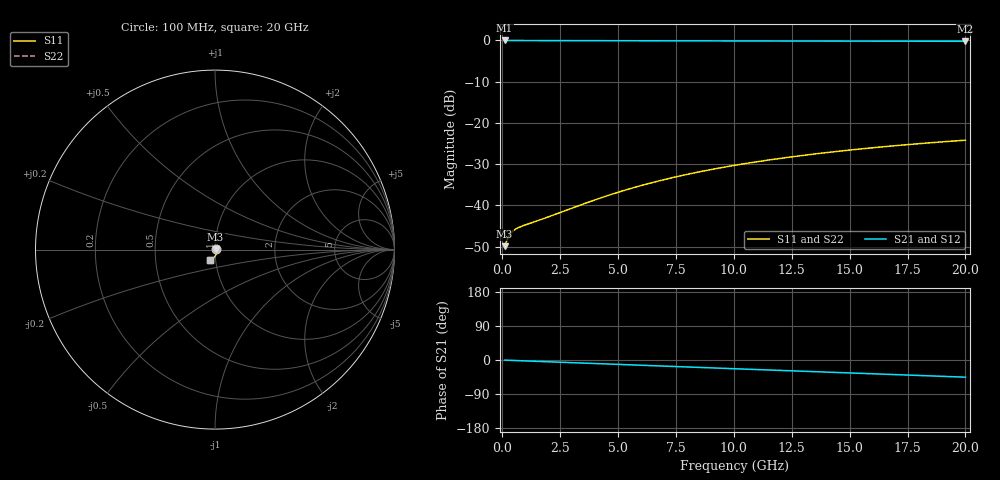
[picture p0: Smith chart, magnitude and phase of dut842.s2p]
! Touchstone file exported from HFSS 2026.1.0
!  File:  C:/ffzhzh/LocalFiles/Ansys_Project_Files/temp_train_TMRDL_842_1783156817_43440.aedt
!  Generated:  05:21:28 PM Jul  4, 2026
!  Design:  TMRDL
!  Project:  temp_train_TMRDL_842_1783156817_43440
! Variables:
!  h_bsmrdl = 2um
!  h_ox = 20um
!  h_rdl = 5um
!  h_sub = 80um
!  h_tmrdl = 3.85um
!  h_tsv = 80um
!  h_via = 3um
!  l_bsmrdl = 300um
!  l_sub = 1207.12um
!  l_tmrdl = 807.12um
!  m_sub = 200um
!  pitch = 30.73um
!  r_tsv = 6um
!  s_tmrdl = 10um
!  w_bsmrdl = 18um
!  w_sub = 500um
!  w_tmrdl = 26.92um
!  x_tsv_center1 = 820.58um
!  x_tsv_center2 = 1138.58um
!  x_tsv_center3 = 1972.62um
!  x_tsv_center4 = 2290.62um
!  x_tsv_center5 = 3124.66um
!  x_tsv_center6 = 3442.66um
# GHz S MA R 50.000000
! Terminal data exported
! Port[1] = TM_RDL1_1_T1
! Port[2] = TM_RDL1_1_T2
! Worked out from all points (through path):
!   200 points, 100 MHz to 20 GHz, reference 50 ohm
!   highest |S21| = -0.03 dB at 100 MHz (marker M1); lowest = -0.2 dB at 20 GHz (marker M2)
!   group delay of S21, straight-line fit = 6.27 ps
!   lowest |S11| = -49.9 dB at 100 MHz (marker M3), VSWR 1.01, Z = 50.3 + j0.0613 ohm
!   |S11| at or under -10 dB: start of sweep to end of sweep
!   |S22| runs from -49.9 to -24.2 dB; largest |S21 - S12| = 3.7e-15
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0.1  0.003196 11.0  0.9969 -0.3  0.9969 -0.3  0.003196 11.0
! Gamma 0 0 0 0
! Port Impedance 50 0 50 0
0.2  0.003775 14.0  0.9963 -0.5  0.9963 -0.5  0.003775 14.0
0.3  0.0043 12.1  0.9958 -0.8  0.9958 -0.8  0.0043 12.1
0.4  0.004692 8.7  0.9954 -1.0  0.9954 -1.0  0.004692 8.7
0.5  0.004979 5.0  0.995 -1.3  0.995 -1.3  0.004979 5.0
0.6  0.005196 1.5  0.9948 -1.5  0.9948 -1.5  0.005197 1.5
0.9  0.005664 -7.4  0.9944 -2.2  0.9944 -2.2  0.005665 -7.4
1.9  0.007086 -27.6  0.9935 -4.5  0.9935 -4.5  0.007089 -27.6
3.5  0.01038 -46.2  0.9918 -8.2  0.9918 -8.2  0.01039 -46.2
4.3  0.01243 -52.7  0.9908 -10.1  0.9908 -10.1  0.01244 -52.7
5.1  0.01468 -58.2  0.9897 -11.9  0.9897 -11.9  0.01469 -58.1
5.9  0.01707 -63.0  0.9886 -13.7  0.9886 -13.7  0.01708 -62.9
6.8  0.01989 -67.9  0.9875 -15.8  0.9875 -15.8  0.0199 -67.8
7.6  0.02247 -71.9  0.9865 -17.6  0.9865 -17.6  0.02249 -71.8
8.4  0.02509 -75.6  0.9855 -19.4  0.9855 -19.4  0.02512 -75.5
10.1  0.03074 -82.8  0.9835 -23.2  0.9835 -23.2  0.03078 -82.6
11.7  0.03606 -88.9  0.9818 -26.8  0.9818 -26.8  0.0361 -88.7
13.4  0.04163 -94.9  0.9801 -30.6  0.9801 -30.6  0.04168 -94.7
15  0.04675 -100.1  0.9785 -34.2  0.9785 -34.2  0.0468 -99.9
16.7  0.05202 -105.4  0.9769 -38.0  0.9769 -38.0  0.05208 -105.2
18.3  0.05679 -110.2  0.9755 -41.5  0.9755 -41.5  0.05686 -109.9
20  0.06162 -115.0  0.9739 -45.3  0.9739 -45.3  0.0617 -114.8
